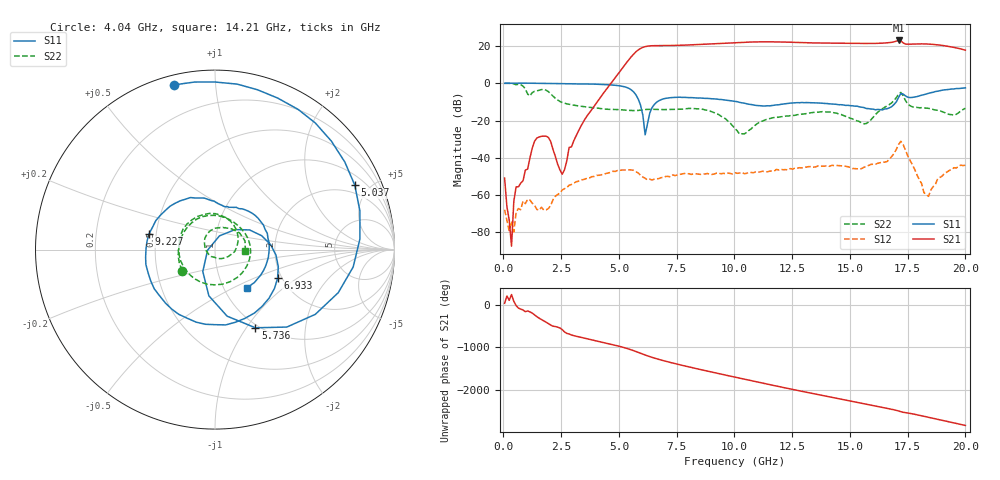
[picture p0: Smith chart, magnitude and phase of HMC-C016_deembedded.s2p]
!Hittite Microwave Corporation
!20 Alpha Road
!Chelmsford, MA 01824
!Tel: 978-250-3343
!Fax: 978-250-3373
!Device: HMC-C016, 7-17 GHz, Connectorized Wideband Amplifier Module
!Misc: 12 V, 99 mA, Room
# GHZ S DB R 50.0
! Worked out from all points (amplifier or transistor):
!   201 points, 50 MHz to 20 GHz, reference 50 ohm
!   highest |S21| = 23.1 dB at 17.11 GHz (marker M1)
!   |S21| within 3 dB of that: 6.282 GHz to 19.17 GHz (12.89 GHz wide, 101 % of centre)
!   unconditionally stable (mu >= 1): 1.531 GHz to 17.1 GHz; 17.3 GHz to end of sweep
!   at 3.342 GHz: K = 168.64, MAG = -11.0 dB, |S12| = -51.9 dB
!   at 10.02 GHz: K = 9.11, MAG = 22.4 dB, |S12| = -48.1 dB
!   at 20 GHz: K = 4.39, MAG = 21.6 dB, |S12| = -44.1 dB
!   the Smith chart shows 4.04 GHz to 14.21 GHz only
!   S11 on the Smith chart (normalised r, x): 4.04 GHz: 0.04, +0.78; 5.037 GHz: 1.49, +4.04; 5.736 GHz: 0.96, -1.10; 6.933 GHz: 1.90, -0.71; 9.227 GHz: 0.46, +0.09; 14.21 GHz: 1.27, -0.59
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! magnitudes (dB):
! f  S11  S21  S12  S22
! 50 MHz  0.0  -51.0  -68.0  0.0
! 349.2 MHz  0.1  -87.6  -74.2  -0.1
! 548.8 MHz  0.1  -55.7  -69.2  -0.7
! 1.347 GHz  0.0  -31.2  -65.6  -4.3
! 1.945 GHz  -0.1  -29.1  -67.4  -4.5
! 2.544 GHz  -0.1  -48.9  -57.4  -10.3
! 3.441 GHz  -0.4  -21.1  -51.9  -12.5
! 4.04 GHz  -0.5  -10.3  -49.5  -13.3
! 5.037 GHz  -1.3  6.3  -46.9  -14.2
! 5.736 GHz  -6.2  17.0  -47.5  -14.6
! 6.135 GHz  -27.7  19.7  -51.1  -14.1
! 6.733 GHz  -9.3  20.3  -51.2  -14.1
! 6.933 GHz  -8.3  20.3  -50.6  -14.1
! 9.227 GHz  -8.4  21.4  -48.3  -16.4
! 10.12 GHz  -9.9  22.0  -48.4  -25.6
! 13.42 GHz  -10.4  21.7  -45.1  -15.6
! 14.21 GHz  -11.1  21.6  -44.1  -15.6
! 15.71 GHz  -13.5  21.4  -44.8  -21.6
! 16.71 GHz  -13.2  21.9  -40.9  -11.4
! 17.11 GHz  -7.6  23.1  -32.8  -5.8
! 18.4 GHz  -5.4  21.1  -60.8  -13.4
! 20 GHz  -2.4  17.8  -44.1  -13.4
